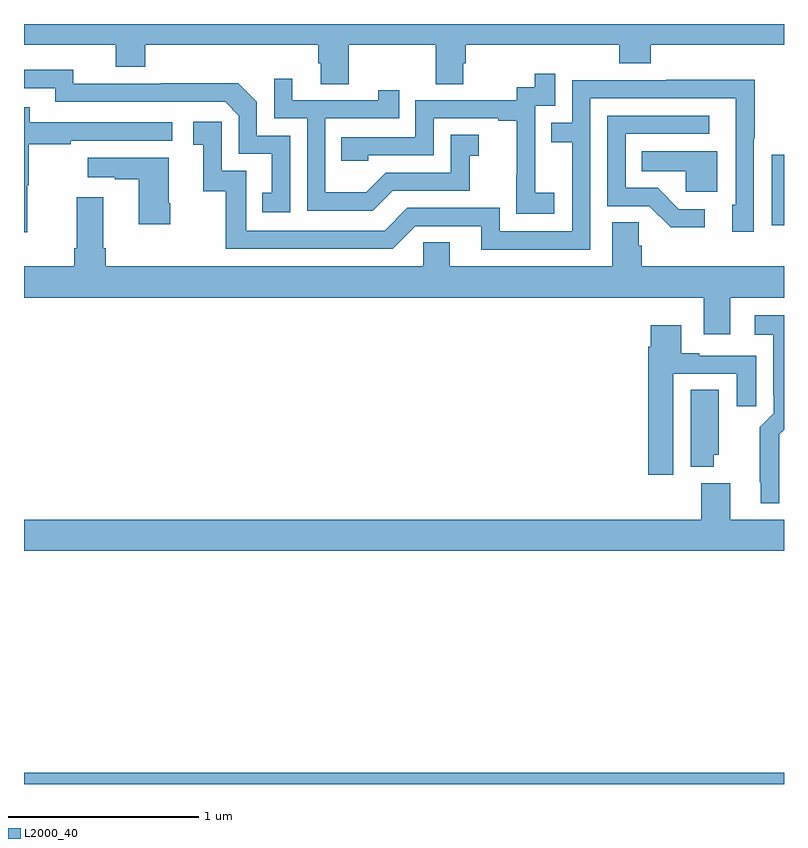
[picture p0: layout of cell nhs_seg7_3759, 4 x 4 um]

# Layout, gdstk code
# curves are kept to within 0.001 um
import gdstk
lib = gdstk.Library(unit=1e-6, precision=1e-09)
def R(c, l, rs):  # rectangles x0, y0, x1, y1
    for r in rs: c.add(gdstk.rectangle(r[:2], r[2:], *l))
def P(c, l, *ps):  # polygons
    for p in ps: c.add(gdstk.Polygon(p, *l))
L2000_40 = (2000, 40)

nhs_seg7_3759 = lib.new_cell('nhs_seg7_3759')
R(nhs_seg7_3759, L2000_40, [(349,1054,353,1054.06), (352.935,1056.942,353,1057.312)])
P(nhs_seg7_3759, L2000_40, [(350.709,1057.892),(351.166,1057.892),(351.166,1057.684),(351.313,1057.684),(351.313,1057.794),(351.326,1057.794),(351.326,1057.892),(352.133,1057.892),(352.133,1057.793),(352.298,1057.793),(352.298,1057.892),(353,1057.892),(353,1058),(349,1058),(349,1057.892),(349.484,1057.892),(349.484,1057.775),(349.637,1057.775),(349.637,1057.892),(350.549,1057.892),(350.549,1057.794),(350.561,1057.794),(350.561,1057.684),(350.709,1057.684)],
  [(350.4,1057.413),(350.226,1057.413),(350.226,1057.59),(350.128,1057.688),(349.72,1057.688),(349.72,1057.686),(349.26,1057.686),(349.26,1057.759),(349,1057.759),(349,1057.662),(349.164,1057.662),(349.164,1057.59),(350.058,1057.59),(350.13,1057.518),(350.13,1057.317),(350.303,1057.317),(350.303,1057.113),(350.254,1057.113),(350.254,1057.008),(350.4,1057.008)],
  [(351.79,1057.111),(351.692,1057.111),(351.692,1057.34),(351.69,1057.34),(351.69,1057.569),(351.795,1057.569),(351.795,1057.738),(351.687,1057.738),(351.687,1057.668),(351.594,1057.668),(351.594,1057.599),(351.06,1057.599),(351.06,1057.404),(350.671,1057.404),(350.671,1057.281),(350.811,1057.281),(350.811,1057.308),(351.156,1057.308),(351.156,1057.503),(351.497,1057.503),(351.497,1057.491),(351.593,1057.491),(351.593,1057.207),(351.592,1057.207),(351.592,1057.001),(351.79,1057.001)],
  [(350.941,1057.122),(351.345,1057.122),(351.345,1057.307),(351.394,1057.307),(351.394,1057.417),(351.246,1057.417),(351.246,1057.218),(350.904,1057.218),(350.8,1057.114),(350.586,1057.114),(350.586,1057.503),(350.975,1057.503),(350.975,1057.651),(350.864,1057.651),(350.864,1057.599),(350.413,1057.599),(350.413,1057.711),(350.316,1057.711),(350.316,1057.503),(350.49,1057.503),(350.49,1057.017),(350.836,1057.017)],
  [(351.981,1057.608),(352.745,1057.608),(352.746,1057.05),(352.727,1057.05),(352.727,1056.906),(352.842,1056.906),(352.842,1057.399),(352.845,1057.399),(352.845,1057.706),(352.381,1057.706),(352.381,1057.704),(351.885,1057.704),(351.885,1057.479),(351.775,1057.479),(351.775,1057.378),(351.885,1057.378),(351.885,1056.909),(351.504,1056.909),(351.504,1057.032),(351.018,1057.032),(350.898,1056.912),(350.169,1056.912),(350.169,1057.227),(350.04,1057.227),(350.04,1057.486),(349.89,1057.486),(349.89,1057.365),(349.943,1057.365),(349.943,1057.119),(350.061,1057.119),(350.061,1056.816),(350.94,1056.816),(351.06,1056.936),(351.407,1056.936),(351.407,1056.813),(351.981,1056.813)],
  [(349.016,1057.152),(349.024,1057.152),(349.024,1057.366),(349.247,1057.366),(349.247,1057.386),(349.78,1057.386),(349.78,1057.482),(349.031,1057.482),(349.031,1057.561),(349,1057.561),(349,1056.903),(349.016,1056.903)],
  [(352.582,1057.026),(352.447,1057.026),(352.336,1057.137),(352.167,1057.137),(352.167,1057.422),(352.606,1057.422),(352.606,1057.518),(352.071,1057.518),(352.071,1057.041),(352.29,1057.041),(352.403,1056.929),(352.582,1056.929)],
  [(352.648,1057.33),(352.252,1057.33),(352.252,1057.226),(352.483,1057.226),(352.483,1057.118),(352.648,1057.118)],
  [(349.77,1057.057),(349.762,1057.057),(349.762,1057.297),(349.335,1057.297),(349.335,1057.193),(349.478,1057.193),(349.478,1057.183),(349.604,1057.183),(349.604,1056.945),(349.77,1056.945)],
  [(352.717,1056.56),(353,1056.56),(353,1056.724),(352.25,1056.724),(352.25,1056.833),(352.236,1056.833),(352.236,1056.956),(352.097,1056.956),(352.097,1056.724),(351.241,1056.724),(351.241,1056.851),(351.102,1056.851),(351.102,1056.724),(349.43,1056.724),(349.43,1056.82),(349.417,1056.82),(349.417,1057.087),(349.277,1057.087),(349.277,1056.82),(349.265,1056.82),(349.265,1056.724),(349,1056.724),(349,1056.56),(352.577,1056.56),(352.577,1056.366),(352.717,1056.366)],
  [(352.975,1055.84),(353,1055.865),(353,1056.466),(352.845,1056.466),(352.845,1056.365),(352.943,1056.365),(352.943,1056.046),(352.947,1056.046),(352.947,1055.952),(352.873,1055.878),(352.873,1055.587),(352.877,1055.587),(352.877,1055.477),(352.975,1055.477)],
  [(352.417,1056.159),(352.751,1056.159),(352.751,1055.988),(352.855,1055.988),(352.855,1056.255),(352.555,1056.255),(352.555,1056.268),(352.459,1056.268),(352.459,1056.415),(352.298,1056.415),(352.298,1056.302),(352.286,1056.302),(352.286,1055.628),(352.417,1055.628)],
  [(352.63,1055.733),(352.657,1055.733),(352.657,1056.074),(352.508,1056.074),(352.508,1055.669),(352.63,1055.669)],
  [(353,1055.392),(352.717,1055.392),(352.717,1055.584),(352.565,1055.584),(352.565,1055.392),(349,1055.392),(349,1055.228),(353,1055.228)])

lib.write_gds('nhs_seg7_3759.gds')
